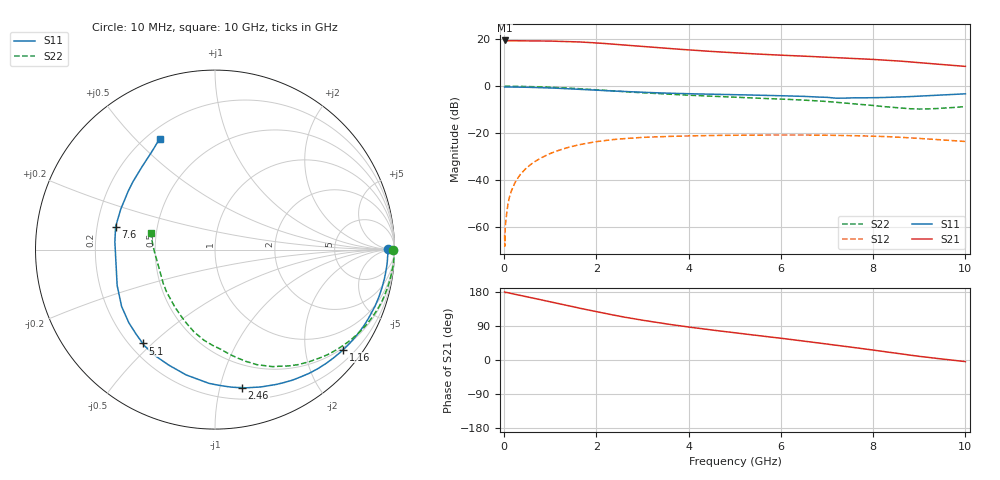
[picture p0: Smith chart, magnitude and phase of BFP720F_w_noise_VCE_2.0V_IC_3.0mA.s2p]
! Infineon Technologies  Discrete & RF Semiconductors
! BFP720F
! VCE =  2.0 V,  IC =  3.0 mA
! Common Emitter S-Parameters:  Jan 2016
# GHz  S  MA  R  50
!  f  S11  S21  S12  S22
! GHz  MAG  ANG  MAG  ANG  MAG  ANG  MAG  ANG
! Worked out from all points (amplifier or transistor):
!   233 points, 10 MHz to 10 GHz, reference 50 ohm
!   highest |S21| = 19.5 dB at 10 MHz (marker M1)
!   |S21| within 3 dB of that: start of sweep to 3.299 GHz
!   unconditionally stable (mu >= 1): 8.774 GHz to end of sweep
!   at 200 MHz: K = 0.02, MSG = 30.9 dB, |S12| = -42.5 dB
!   at 1.74 GHz: K = 0.16, MSG = 21.6 dB, |S12| = -24.4 dB
!   at 10 GHz: K = 1.15, MAG = 13.6 dB, |S12| = -23.5 dB
!   lowest NFmin = 0.40 dB at 450 MHz
!   S11 on the Smith chart (normalised r, x): 10 MHz: 51, +2; 1.16 GHz: 0.46, -2.85; 2.46 GHz: 0.29, -1.17; 5.1 GHz: 0.25, -0.47; 7.6 GHz: 0.28, +0.11; 10 GHz: 0.25, +0.59
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0.01  0.9614 0.1  9.387 179.6  0.0007 -25.0  0.9942 -0.1
0.015  0.9628 -0.3  9.27 178.8  0.0004 46.6  0.9971 -0.6
0.02  0.9642 -0.6  9.155 178.0  0.0009 94.1  1 -1.1
0.03  0.9636 -1.0  9.191 178.1  0.0012 92.3  0.9991 -1.1
0.1  0.9628 -3.1  9.273 177.1  0.0038 88.0  0.9982 -2.3
0.26  0.9589 -8.3  9.265 172.8  0.0099 84.4  0.9955 -5.9
0.8  0.9341 -26.0  9.193 158.9  0.03 72.4  0.9698 -18.5
1.16  0.9061 -37.9  9.003 149.3  0.0426 63.9  0.9392 -26.9
1.68  0.8566 -55.5  8.68 135.5  0.0585 52.0  0.8795 -39.0
2.04  0.8207 -66.8  8.268 126.4  0.0673 44.0  0.8342 -46.8
2.46  0.7838 -78.9  7.698 116.6  0.0751 35.4  0.7838 -55.1
2.96  0.748 -91.6  7.06 105.8  0.0814 26.8  0.7302 -63.2
3.4  0.7204 -100.9  6.536 97.5  0.0848 20.3  0.6904 -68.7
4  0.6932 -111.8  5.917 87.0  0.0882 12.5  0.6449 -74.7
4.5  0.679 -119.3  5.482 79.2  0.09 7.1  0.6142 -78.6
5.1  0.6597 -127.6  5.065 70.4  0.0913 0.8  0.579 -83.4
6  0.6299 -139.6  4.57 57.3  0.0923 -7.6  0.5348 -91.2
6.8  0.5892 -155.3  4.219 45.2  0.0915 -15.2  0.4865 -101.2
7.6  0.5683 167.0  3.87 32.7  0.089 -22.7  0.422 -115.5
8.4  0.5835 145.7  3.516 19.5  0.0842 -30.5  0.3583 -138.8
9  0.6158 131.2  3.18 9.6  0.0779 -35.6  0.3279 -164.1
10  0.6901 116.6  2.636 -4.2  0.067 -40.4  0.3707 165.7
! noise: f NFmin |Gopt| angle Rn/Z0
0.45  0.4  0.62  4  0.22
0.9  0.47  0.62  12  0.22
1.8  0.5  0.6  23  0.17
2.4  0.55  0.59  30  0.16
5.5  0.77  0.44  81  0.11
10  1.13  0.28  -126  0.14
